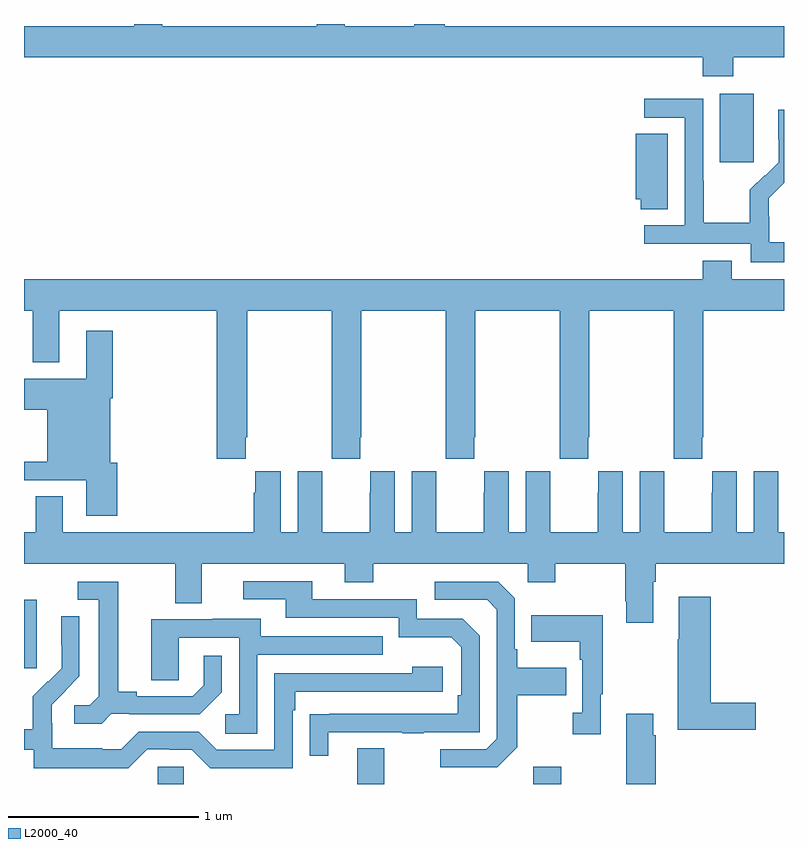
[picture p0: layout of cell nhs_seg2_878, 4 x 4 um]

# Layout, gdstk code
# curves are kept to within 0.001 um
import gdstk
lib = gdstk.Library(unit=1e-6, precision=1e-09)
def R(c, l, rs):  # rectangles x0, y0, x1, y1
    for r in rs: c.add(gdstk.rectangle(r[:2], r[2:], *l))
def P(c, l, *ps):  # polygons
    for p in ps: c.add(gdstk.Polygon(p, *l))
L2000_40 = (2000, 40)

nhs_seg2_878 = lib.new_cell('nhs_seg2_878')
R(nhs_seg2_878, L2000_40, [(155.703,655.8,155.841,655.89), (156.755,655.8,156.895,655.987), (157.679,655.8,157.827,655.891), (155,656.409,155.068,656.77), (158.663,659.073,158.842,659.434)])
P(nhs_seg2_878, L2000_40, [(158.733,659.624),(159,659.624),(159,659.788),(157.214,659.788),(157.214,659.8),(157.054,659.8),(157.054,659.788),(156.687,659.788),(156.687,659.8),(156.54,659.8),(156.54,659.788),(155.727,659.788),(155.727,659.8),(155.579,659.8),(155.579,659.788),(155,659.788),(155,659.624),(158.573,659.624),(158.573,659.525),(158.733,659.525)],
  [(159,658.651),(158.922,658.651),(158.922,658.785),(158.92,658.785),(158.92,658.882),(158.994,658.956),(158.993,658.957),(159,658.964),(159,659.348),(158.97,659.348),(158.97,659.194),(158.972,659.194),(158.972,659.072),(158.901,659.001),(158.898,659.004),(158.821,658.927),(158.821,658.753),(158.577,658.753),(158.577,658.976),(158.574,658.976),(158.574,659.406),(158.265,659.406),(158.265,659.307),(158.478,659.307),(158.478,658.74),(158.265,658.74),(158.265,658.644),(158.826,658.644),(158.826,658.547),(159,658.547)],
  [(158.389,659.222),(158.219,659.222),(158.219,658.878),(158.246,658.878),(158.246,658.825),(158.389,658.825)],
  [(155,658.292),(155.045,658.292),(155.045,658.019),(155.185,658.019),(155.185,658.292),(156.014,658.292),(156.014,657.513),(156.167,657.513),(156.167,657.625),(156.174,657.625),(156.174,658.292),(156.619,658.292),(156.619,657.625),(156.621,657.625),(156.621,657.513),(156.771,657.513),(156.771,657.625),(156.774,657.625),(156.774,658.292),(157.219,658.292),(157.219,657.625),(157.221,657.625),(157.221,657.513),(157.371,657.513),(157.371,657.625),(157.374,657.625),(157.374,658.292),(157.819,658.292),(157.819,657.625),(157.821,657.625),(157.821,657.513),(157.971,657.513),(157.971,657.625),(157.974,657.625),(157.974,658.292),(158.419,658.292),(158.419,657.625),(158.421,657.625),(158.421,657.513),(158.571,657.513),(158.571,657.625),(158.574,657.625),(158.574,658.292),(159,658.292),(159,658.456),(158.725,658.456),(158.725,658.555),(158.573,658.555),(158.573,658.456),(155,658.456)],
  [(155.492,657.492),(155.455,657.492),(155.455,657.83),(155.468,657.83),(155.468,658.186),(155.327,658.186),(155.327,657.934),(155,657.934),(155,657.77),(155.123,657.77),(155.123,657.496),(155,657.496),(155,657.399),(155.327,657.399),(155.327,657.213),(155.492,657.213)],
  [(158.311,656.864),(158.324,656.864),(158.324,656.96),(159,656.96),(159,657.124),(158.971,657.124),(158.971,657.332),(158.97,657.332),(158.97,657.445),(158.84,657.445),(158.84,657.124),(158.752,657.124),(158.752,657.445),(158.622,657.445),(158.622,657.332),(158.621,657.332),(158.621,657.124),(158.371,657.124),(158.371,657.332),(158.37,657.332),(158.37,657.445),(158.24,657.445),(158.24,657.124),(158.152,657.124),(158.152,657.445),(158.022,657.445),(158.022,657.332),(158.021,657.332),(158.021,657.124),(157.771,657.124),(157.771,657.332),(157.77,657.332),(157.77,657.445),(157.64,657.445),(157.64,657.124),(157.552,657.124),(157.552,657.445),(157.422,657.445),(157.422,657.332),(157.421,657.332),(157.421,657.124),(157.171,657.124),(157.171,657.332),(157.17,657.332),(157.17,657.445),(157.04,657.445),(157.04,657.124),(156.952,657.124),(156.952,657.445),(156.822,657.445),(156.822,657.332),(156.821,657.332),(156.821,657.124),(156.571,657.124),(156.571,657.332),(156.57,657.332),(156.57,657.445),(156.44,657.445),(156.44,657.124),(156.352,657.124),(156.352,657.445),(156.218,657.445),(156.218,657.332),(156.209,657.332),(156.209,657.124),(155.203,657.124),(155.203,657.314),(155.063,657.314),(155.063,657.124),(155,657.124),(155,656.96),(155.795,656.96),(155.795,656.752),(155.935,656.752),(155.935,656.96),(156.689,656.96),(156.689,656.861),(156.837,656.861),(156.837,656.96),(157.65,656.96),(157.65,656.861),(157.797,656.861),(157.797,656.96),(158.164,656.96),(158.164,656.761),(158.171,656.761),(158.171,656.649),(158.311,656.649)],
  [(156.601,656.073),(156.991,656.073),(156.991,656.068),(157.103,656.068),(157.103,656.073),(157.398,656.073),(157.398,656.58),(157.308,656.67),(157.068,656.67),(157.068,656.772),(156.517,656.772),(156.517,656.868),(156.153,656.868),(156.153,656.772),(156.377,656.772),(156.377,656.676),(156.972,656.676),(156.972,656.573),(157.249,656.573),(157.302,656.52),(157.302,656.266),(157.282,656.266),(157.282,656.169),(156.505,656.168),(156.505,655.95),(156.601,655.95)],
  [(155.46,656.169),(155.554,656.169),(155.554,656.166),(155.926,656.166),(156.042,656.282),(156.042,656.476),(155.945,656.476),(155.945,656.319),(155.888,656.262),(155.593,656.262),(155.593,656.285),(155.497,656.285),(155.497,656.865),(155.283,656.865),(155.283,656.769),(155.393,656.769),(155.393,656.261),(155.346,656.214),(155.265,656.214),(155.265,656.117),(155.408,656.117)],
  [(157.597,655.993),(157.597,656.266),(157.853,656.266),(157.853,656.413),(157.597,656.413),(157.597,656.509),(157.584,656.509),(157.584,656.778),(157.497,656.865),(157.161,656.865),(157.161,656.769),(157.437,656.769),(157.488,656.718),(157.488,656.037),(157.434,655.983),(157.191,655.983),(157.191,655.887),(157.491,655.887)],
  [(158.851,656.228),(158.615,656.228),(158.615,656.785),(158.447,656.785),(158.447,656.561),(158.44,656.561),(158.44,656.086),(158.851,656.086)],
  [(158.035,656.273),(158.047,656.273),(158.047,656.689),(157.669,656.689),(157.669,656.549),(157.926,656.549),(157.926,656.453),(157.938,656.453),(157.938,656.174),(157.887,656.174),(157.887,656.061),(158.035,656.061)],
  [(155.649,655.983),(155.765,655.983),(155.765,655.98),(155.883,655.98),(155.979,655.884),(156.414,655.884),(156.414,656.189),(156.427,656.189),(156.427,656.286),(157.204,656.286),(157.204,656.416),(157.043,656.416),(157.043,656.382),(156.318,656.382),(156.318,655.98),(156.015,655.98),(155.919,656.076),(155.604,656.076),(155.511,655.983),(155.411,655.983),(155.411,655.987),(155.148,655.987),(155.148,656.121),(155.146,656.121),(155.146,656.218),(155.292,656.366),(155.292,656.684),(155.196,656.684),(155.196,656.53),(155.198,656.53),(155.198,656.408),(155.127,656.337),(155.124,656.34),(155.047,656.263),(155.047,656.089),(155,656.089),(155,655.98),(155.052,655.98),(155.052,655.883),(155.549,655.883)],
  [(156.228,656.481),(156.887,656.481),(156.887,656.577),(156.247,656.577),(156.247,656.671),(155.993,656.671),(155.993,656.667),(155.669,656.667),(155.669,656.347),(155.814,656.347),(155.814,656.571),(156.132,656.571),(156.132,656.166),(156.06,656.166),(156.06,656.065),(156.228,656.065)],
  [(158.324,656.057),(158.311,656.057),(158.311,656.17),(158.171,656.17),(158.171,655.8),(158.324,655.8)])

lib.write_gds('nhs_seg2_878.gds')
